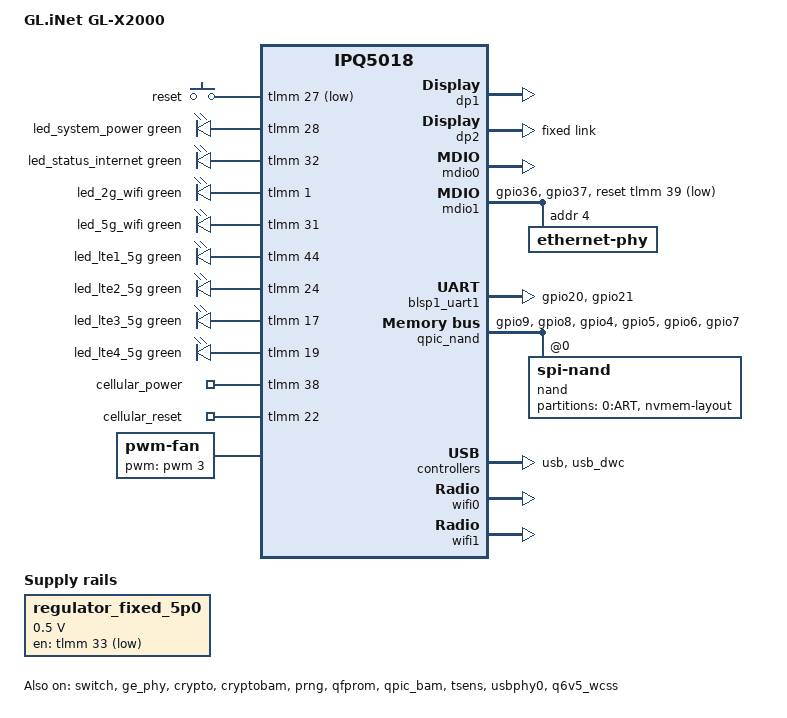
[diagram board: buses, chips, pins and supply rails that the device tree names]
/dts-v1/;

#include "ipq5018.dtsi"
#include "ipq5018-ess.dtsi"

#include <dt-bindings/gpio/gpio.h>
#include <dt-bindings/input/input.h>
#include <dt-bindings/leds/common.h>

/ {
	model = "GL.iNet GL-X2000";
	compatible = "glinet,gl-x2000", "qcom,ipq5018";

	aliases {
		ethernet0 = &dp1;
		ethernet1 = &dp2;
		label-mac-device = &dp2;
		led-boot = &led_system_power;
		led-failsafe = &led_status_internet;
		led-running = &led_status_internet;
		led-upgrade = &led_system_power;
		serial0 = &blsp1_uart1;
		serial1 = &blsp1_uart2;
	};

	chosen {
		bootargs-append = " root=/dev/ubiblock0_1 swiotlb=1 coherent_pool=2M";
		stdout-path = "serial0:115200n8";
	};

	keys {
		compatible = "gpio-keys";
		pinctrl-0 = <&button_pins>;
		pinctrl-names = "default";

		button_reset {
			label = "reset";
			gpios = <&tlmm 27 GPIO_ACTIVE_LOW>;
			linux,code = <KEY_RESTART>;
		};
	};

	leds {
		compatible = "gpio-leds";
		pinctrl-0 = <&leds_pins>;
		pinctrl-names = "default";

		led_system_power: led_system_power {
				color = <LED_COLOR_ID_GREEN>;
				function = LED_FUNCTION_POWER;
				gpios = <&tlmm 28 GPIO_ACTIVE_HIGH>;
				default-state = "on";
		};

		led_status_internet: led_status_internet {
				color = <LED_COLOR_ID_GREEN>;
				function = LED_FUNCTION_ACTIVITY;
				gpios = <&tlmm 32 GPIO_ACTIVE_HIGH>;
				default-state = "off";
		};

		led_2g_wifi: wifi_2g {
			color = <LED_COLOR_ID_GREEN>;
			function = LED_FUNCTION_WLAN_2GHZ;
			gpios = <&tlmm 1 GPIO_ACTIVE_HIGH>;
			default-state = "off";
		};

		led_5g_wifi: wifi_5g {
			color = <LED_COLOR_ID_GREEN>;
			function = LED_FUNCTION_WLAN_5GHZ;
			gpios = <&tlmm 31 GPIO_ACTIVE_HIGH>;
			default-state = "off";
		};

		led_lte1_5g: led1_5G_signal {
			color = <LED_COLOR_ID_GREEN>;
			function = LED_FUNCTION_ACTIVITY;
			gpios = <&tlmm 44 GPIO_ACTIVE_HIGH>;
			default-state = "off";
		};

		led_lte2_5g: led2_5G_signal {
			color = <LED_COLOR_ID_GREEN>;
			function = LED_FUNCTION_ACTIVITY;
			gpios = <&tlmm 24 GPIO_ACTIVE_HIGH>;
			default-state = "off";
		};

		led_lte3_5g: led3_5G_signal {
			color = <LED_COLOR_ID_GREEN>;
			function = LED_FUNCTION_ACTIVITY;
			gpios = <&tlmm 17 GPIO_ACTIVE_HIGH>;
			default-state = "off";
		};

		led_lte4_5g: led4_5G_signal {
			color = <LED_COLOR_ID_GREEN>;
			function = LED_FUNCTION_ACTIVITY;
			gpios = <&tlmm 19 GPIO_ACTIVE_HIGH>;
			default-state = "off";
		};
	};

	gpio-export {
			compatible = "gpio-export";
			cellular_power {
					gpio-export,name = "cellular_power";
					gpio-export,output = <1>;
					gpios = <&tlmm 38 GPIO_ACTIVE_HIGH>;
			};

			cellular_reset {
					gpio-export,name = "cellular_reset";
					gpio-export,output = <0>;
					gpios = <&tlmm 22 GPIO_ACTIVE_HIGH>;
			};

	};

	pwm-fan {
		compatible = "pwm-fan";
		pinctrl-0 = <&fan_pins>;
		pinctrl-names = "default";
		cooling-min-state = <0>;
		cooling-max-state = <255>;
		#cooling-cells = <2>;
		pwms = <&pwm 3 40000 0>;
		cooling-levels =
			<0 36 36 36 36 36 36 36 36 36 36 36 36 36 36 36 36 36 36 36
			36 36 36 36 36 36 36 36 36 36 36 36 36 36 36 36 36 37 38 39
			40 41 42 43 44 45 46 47 48 49 50 51 52 53 54 55 56 57 58 59
			60 61 62 63 64 65 66 67 68 69 70 71 72 73 74 75 76 77 78 79
			80 81 82 83 84 85 86 87 88 89 90 91 92 93 94 95 96 97 98 99
			100 101 102 103 104 105 106 107 108 109 110 111 112 113 114 115 116 117 118 119
			120 121 122 123 124 125 126 127 128 129 130 131 132 133 134 135 136 137 138 139
			140 141 142 143 144 145 146 147 148 149 150 151 152 153 154 155 156 157 158 159
			160 161 162 163 164 165 166 167 168 169 170 171 172 173 174 175 176 177 178 179
			180 181 182 183 184 185 186 187 188 189 190 191 192 193 194 195 196 197 198 199
			200 201 202 203 204 205 206 207 208 209 210 211 212 213 214 215 216 217 218 219
			220 221 222 223 224 225 226 227 228 229 230 231 232 233 234 235 236 237 238 239
			240 241 242 243 244 245 246 247 248 249 250 251 252 253 254 255>;
	};

	regulator_fixed_5p0: regulator-s0500 {
		compatible = "regulator-fixed";
		regulator-min-microvolt = <500000>;
		regulator-max-microvolt = <500000>;
		regulator-name = "fixed_5p0";
		gpio = <&tlmm 33 GPIO_ACTIVE_LOW>;
	};

	reserved-memory {

		q6_mem_regions: q6_mem_regions@4b000000 {
			no-map;
			reg = <0x0 0x4b000000 0x0 0x3000000>;
		};
	};
};

&switch {
	status = "okay";
	switch_mac_mode = <MAC_MODE_SGMII_CHANNEL0>;

	qcom,port_phyinfo {

		// MAC0 -> GE Phy -> QCA8337 Phy2
		port@0 {
			port_id = <1>;
			mdiobus = <&mdio0>;
			phy_address = <7>;
		};

		// MAC1 ---SGMII---> QCA8337 SerDes
		port@1 {
			port_id = <2>;
			forced-speed = <1000>;
			forced-duplex = <1>;
		};
	};
};

// MAC0 -> GE Phy
&dp1 {
	status = "okay";

	nvmem-cells = <&macaddr_dp2 1>;
	nvmem-cell-names = "mac-address";
};

// MAC1 ---SGMII---> QCA8337 SerDes
&dp2 {
	status = "okay";
	nvmem-cells = <&macaddr_dp2 0>;
	nvmem-cell-names = "mac-address";

	fixed-link {
		speed = <1000>;
		full-duplex;
	};
};

&mdio0 {
	status = "okay";
};

// IPQ5018 GE Phy -> QCA8337 Phy1
&ge_phy {
	status = "okay";
};

&mdio1 {
	status = "okay";

	pinctrl-0 = <&mdio1_pins>;
	pinctrl-names = "default";
	reset-gpios = <&tlmm 39 GPIO_ACTIVE_LOW>;

	// QCA8337 Phy0 -> WAN
	ethernet-phy@0 {
		reg = <4>;
	};

};

&sleep_clk {
	clock-frequency = <32000>;
};

&xo_board_clk {
	clock-frequency = <24000000>;
};

&blsp1_uart1 {
	status = "okay";
	pinctrl-0 = <&serial_0_pins>;
	pinctrl-names = "default";
};

&crypto {
	status = "okay";
};

&cryptobam {
	status = "okay";
};

&prng {
	status = "okay";
};

&qfprom {
	status = "okay";
};

&qpic_bam {
	status = "okay";
};

&qpic_nand {
	pinctrl-0 = <&qpic_pins>;
	pinctrl-names = "default";
	status = "okay";

	nand@0 {
		compatible = "spi-nand";
		reg = <0>;
		#address-cells = <1>;
		#size-cells = <1>;

		nand-ecc-engine = <&qpic_nand>;
		nand-ecc-strength = <4>;
		nand-ecc-step-size = <512>;
		nand-bus-width = <8>;

		partitions {
			compatible = "qcom,smem-part";

			partition-0-art {
				compatible = "fixed-partitions";
				label = "0:ART";
				read-only;
				#address-cells = <1>;
				#size-cells = <1>;

				nvmem-layout {
					compatible = "fixed-layout";
					#address-cells = <1>;
					#size-cells = <1>;

					macaddr_dp2: macaddr@0 {
						compatible = "mac-base";
						#nvmem-cell-cells = <1>;
						reg = <0x0 0x6>;
					};
				};
			};
		};
	};
};

&tlmm {
	mdio1_pins: mdio-state {
		mdc-pins {
			pins = "gpio36";
			function = "mdc";
			drive-strength = <8>;
			bias-pull-up;
		};

		mdio-pins {
			pins = "gpio37";
			function = "mdio";
			drive-strength = <8>;
			bias-pull-up;
		};
	};

	pwm_pins: pwm_pinmux {
		mux {
			pins = "gpio13";
			function = "pwm3";
			drive-strength = <8>;
		};
	};

	fan_pins: fan_pins {
		pwr {
			pins = "gpio34";
			function = "gpio";
			output-high;
		};

		speed {
			pins = "gpio26";
			function = "gpio";
			drive-strength = <8>;
			bias-disable;
		};
	};

	usbhub_pins: usbhub_pins {
		hub_reset {
			pins = "gpio33";
			function = "gpio";
			drive-strength = <8>;
			bias-disable;
			output-high;
		};
	};

	cellular_pins: cellular-pins {
			pins = "gpio12", "gpio22", "gpio38";
			function = "gpio";
			drive-strength = <8>;
			bias-disable;
			output-low;
	};

	leds_pins: leds-pins {
			pins = 	"gpio1", "gpio24", "gpio28", "gpio31",
				"gpio32", "gpio44", "gpio17", "gpio19";
			function = "gpio";
			drive-strength = <8>;
			bias-pull-down;
	};

	button_pins: button-pins {
		pins = "gpio27";
		function = "gpio";
		drive-strength = <8>;
		bias-pull-up;
	};

	qpic_pins: qpic-state {

		clock-pins {
			pins = "gpio9";
			function = "qspi_clk";
			drive-strength = <8>;
			bias-disable;
		};

		cs-pins {
			pins = "gpio8";
			function = "qspi_cs";
			drive-strength = <8>;
			bias-disable;
		};

		data-pins {
			pins = "gpio4", "gpio5", "gpio6", "gpio7";
			function = "qspi_data";
			drive-strength = <8>;
			bias-disable;
		};
	};

	serial_0_pins: uart0-state {
		pins =
			"gpio20", // RX
			"gpio21"; // TX
		function = "blsp0_uart0";
		drive-strength = <8>;
		bias-disable;
	};
};


&tsens {
	status = "okay";
};

&usbphy0 {
	status = "okay";

	vdd-supply = <&regulator_fixed_5p0>;
};

&usb {
	status = "okay";

	vdd-supply = <&regulator_fixed_5p0>;
};

&usb_dwc {
	status = "okay";
};

&q6v5_wcss {
	status = "okay";

	memory-region = <&q6_mem_regions>;
	firmware-name = "ath11k/IPQ5018/hw1.0/q6_fw.mdt",
			"ath11k/IPQ5018/hw1.0/m3_fw.mdt",
			"ath11k/QCN6122/hw1.0/m3_fw.mdt";

	/* passing bootargs on GL-X2000 is untested */
	/*boot-args = <					*/
			/*       type:	0x1  PCIE0	*/
			/*     length:	4		*/
			/*      PD id:	3		*/
			/* reset GPIO:	15		*/
			/*   reserved:	0 0>;		*/

	// IPQ5018
	q6_wcss_pd1: pd-1 {
		firmware-name = "ath11k/IPQ5018/hw1.0/q6_fw.mdt";

		resets =
			<&gcc GCC_WCSSAON_RESET>,
			<&gcc GCC_WCSS_BCR>,
			<&gcc GCC_CE_BCR>;
		reset-names =
			"wcss_aon_reset",
			"wcss_reset",
			"ce_reset";

		clocks =
			<&gcc GCC_WCSS_AHB_S_CLK>,
			<&gcc GCC_WCSS_ACMT_CLK>,
			<&gcc GCC_WCSS_AXI_M_CLK>;
		clock-names =
			"gcc_wcss_ahb_s_clk",
			"gcc_wcss_acmt_clk",
			"gcc_wcss_axi_m_clk";

		// qcom,halt-regs = <&tcsr_q6_block 0xa000 0xd000 0x0>;
		interrupts-extended =
			<&wcss_smp2p_in 8 IRQ_TYPE_NONE>,
			<&wcss_smp2p_in 9 IRQ_TYPE_NONE>,
			<&wcss_smp2p_in 12 IRQ_TYPE_NONE>,
			<&wcss_smp2p_in 11 IRQ_TYPE_NONE>;
		interrupt-names =
			"fatal",
			"ready",
			"spawn-ack",
			"stop-ack";

		qcom,smem-states =
			<&wcss_smp2p_out 8>,
			<&wcss_smp2p_out 9>,
			<&wcss_smp2p_out 10>;
		qcom,smem-state-names =
			"shutdown",
			"stop",
			"spawn";
	};

	// QCN6102 5G
	q6_wcss_pd3: pd-3 {
		firmware-name = "ath11k/IPQ5018/hw1.0/q6_fw.mdt";

		interrupts-extended =
			<&wcss_smp2p_in 24 IRQ_TYPE_NONE>,
			<&wcss_smp2p_in 25 IRQ_TYPE_NONE>,
			<&wcss_smp2p_in 28 IRQ_TYPE_NONE>,
			<&wcss_smp2p_in 27 IRQ_TYPE_NONE>;
		interrupt-names =
			"fatal",
			"ready",
			"spawn-ack",
			"stop-ack";

		qcom,smem-states =
			<&wcss_smp2p_out 24>,
			<&wcss_smp2p_out 25>,
			<&wcss_smp2p_out 26>;
		qcom,smem-state-names =
			"shutdown",
			"stop",
			"spawn";
	};
};

&wifi0 {
	// IPQ5018
	status = "okay";

	qcom,rproc = <&q6_wcss_pd1>;
	qcom,userpd-subsys-name = "q6v5_wcss_userpd1";
	qcom,ath11k-calibration-variant = "GL-iNet-GL-X2000";
	qcom,ath11k-fw-memory-mode = <2>;
	qcom,bdf-addr = <0x4c400000>;
};

&wifi1 {
	// QCN6102 5G
	status = "okay";

	qcom,rproc = <&q6_wcss_pd3>;
	qcom,userpd-subsys-name = "q6v5_wcss_userpd3";
	qcom,ath11k-calibration-variant = "GL-iNet-GL-X2000";
	qcom,ath11k-fw-memory-mode = <2>;
	qcom,bdf-addr = <0x4d100000>;
	qcom,m3-dump-addr = <0x4df00000>;
};
